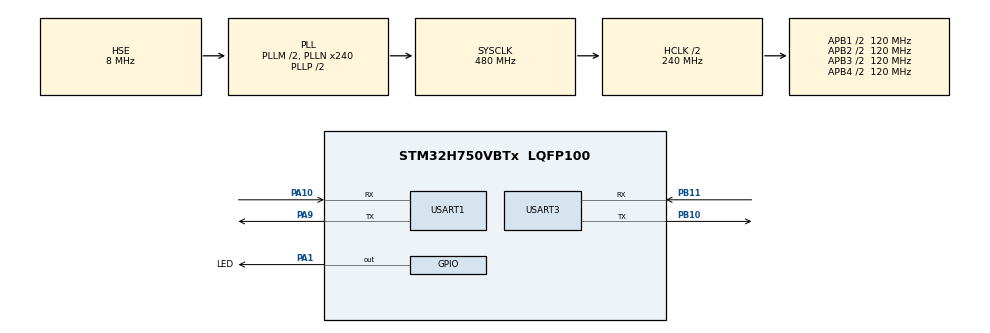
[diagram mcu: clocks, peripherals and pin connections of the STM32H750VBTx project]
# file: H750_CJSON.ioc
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CORTEX_M7.AccessPermission_Spec=MPU_REGION_FULL_ACCESS
CORTEX_M7.BaseAddress_Spec=0x24000000
CORTEX_M7.CPU_DCache=Enabled
CORTEX_M7.CPU_ICache=Enabled
CORTEX_M7.DisableExec_Spec=MPU_INSTRUCTION_ACCESS_ENABLE
CORTEX_M7.IsBufferable_Spec=MPU_ACCESS_BUFFERABLE
CORTEX_M7.IsCacheable_Spec=MPU_ACCESS_CACHEABLE
CORTEX_M7.IsShareable_Spec=MPU_ACCESS_NOT_SHAREABLE
CORTEX_M7.Size_Spec=MPU_REGION_SIZE_512KB
CORTEX_M7.SubRegionDisable_Spec=0x00
CORTEX_M7.TypeExtField_Spec=MPU_TEX_LEVEL1
Mcu.Family=STM32H7
Mcu.Name=STM32H750VBTx
Mcu.Package=LQFP100
NVIC.PriorityGroup=NVIC_PRIORITYGROUP_4
NVIC.USART1_IRQn=true\:0\:0\:false\:false\:true\:true\:true\:true
NVIC.USART3_IRQn=true\:0\:0\:false\:false\:true\:true\:true\:true
PA1.GPIO_Label=LED
PA1.GPIO_Speed=GPIO_SPEED_FREQ_HIGH
PA1.Signal=GPIO_Output
PA10.Mode=Asynchronous
PA10.Signal=USART1_RX
PA9.Mode=Asynchronous
PA9.Signal=USART1_TX
PB10.Mode=Asynchronous
PB10.Signal=USART3_TX
PB11.Mode=Asynchronous
PB11.Signal=USART3_RX
PH0-OSC_IN\ (PH0).Mode=HSE-External-Oscillator
PH0-OSC_IN\ (PH0).Signal=RCC_OSC_IN
PH1-OSC_OUT\ (PH1).Mode=HSE-External-Oscillator
PH1-OSC_OUT\ (PH1).Signal=RCC_OSC_OUT
ProjectManager.HeapSize=0x400
ProjectManager.StackSize=0x400
ProjectManager.TargetToolchain=STM32CubeIDE
RCC.ADCFreq_Value=16125000
RCC.APB1Freq_Value=120000000
RCC.APB2Freq_Value=120000000
RCC.APB3Freq_Value=120000000
RCC.APB4Freq_Value=120000000
RCC.CortexFreq_Value=480000000
RCC.D1PPRE=RCC_APB3_DIV2
RCC.D2PPRE1=RCC_APB1_DIV2
RCC.D2PPRE2=RCC_APB2_DIV2
RCC.D3PPRE=RCC_APB4_DIV2
RCC.DIVM1=2
RCC.DIVN1=240
RCC.HCLKFreq_Value=240000000
RCC.HPRE=RCC_HCLK_DIV2
RCC.HSE_VALUE=8000000
RCC.PLLSourceVirtual=RCC_PLLSOURCE_HSE
RCC.PWR_Regulator_Voltage_Scale=PWR_REGULATOR_VOLTAGE_SCALE0
RCC.ProductRev=revV
RCC.SYSCLKFreq_VALUE=480000000
RCC.SYSCLKSource=RCC_SYSCLKSOURCE_PLLCLK
RCC.USBFreq_Value=480000000
USART1.VirtualMode-Asynchronous=VM_ASYNC
USART3.VirtualMode-Asynchronous=VM_ASYNC
board=custom

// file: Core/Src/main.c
/* USER CODE BEGIN Header */
/**
  ******************************************************************************
  * @file           : main.c
  * @brief          : Main program body
  ******************************************************************************
  * @attention
  *
  * Copyright (c) 2024 STMicroelectronics.
  * All rights reserved.
  *
  * This software is licensed under terms that can be found in the LICENSE file
  * in the root directory of this software component.
  * If no LICENSE file comes with this software, it is provided AS-IS.
  *
  ******************************************************************************
  */
/* USER CODE END Header */
#include "main.h"
#include "usart.h"
#include "gpio.h"

/* USER CODE BEGIN Includes */
#include "retarget.h"
#include "cJSON_Test.h"
#include <stdio.h>
#include "SerialDataProcess.h"
#include <stdint.h>
#include <stdbool.h>
#include "stdlib.h"
#include "Store_Information.h"
#include "Judge.h"

/* USER CODE END Includes */

void SystemClock_Config(void);

/* USER CODE BEGIN 0 */
bool Printf_Flag = true;
/* USER CODE END 0 */

int main(void)
{
  /* USER CODE BEGIN 1 */
    int age;

  /* USER CODE END 1 */

  /* Enable I-Cache---------------------------------------------------------*/
  SCB_EnableICache();

  /* Enable D-Cache---------------------------------------------------------*/
  SCB_EnableDCache();

  /* MCU Configuration--------------------------------------------------------*/

  /* Reset of all peripherals, Initializes the Flash interface and the Systick. */
  HAL_Init();

  /* Configure the system clock */
  SystemClock_Config();

  /* Initialize all configured peripherals */
  MX_GPIO_Init();
  MX_USART1_UART_Init();
  MX_USART3_UART_Init();
  /* USER CODE BEGIN 2 */
    RetargetInit(&huart3);//用串口3来进行信息的控制和输出。串口1进行图像的输出。

  /* USER CODE END 2 */

  /* Infinite loop */
  while (1)
  {

    /* USER CODE BEGIN 3 */

    SerialDataProcess();
    if(Printf_Flag== true){
        Judge();
        Printf_Flag = false;
    }

//uint8_t  p[2];
//p[0] = 0x55;
//p[1] = 0xaa;
// HAL_UART_Transmit(&huart3, p, 2, 10);
//    paramstruct ->age = 20;

       //free(ParamStructPtr);

//      printf("Hello World\r\n");
  }
  /* USER CODE END 3 */
}

void SystemClock_Config(void)
{
  RCC_OscInitTypeDef RCC_OscInitStruct = {0};
  RCC_ClkInitTypeDef RCC_ClkInitStruct = {0};

  /** Supply configuration update enable
  */
  HAL_PWREx_ConfigSupply(PWR_LDO_SUPPLY);

  /** Configure the main internal regulator output voltage
  */
  __HAL_PWR_VOLTAGESCALING_CONFIG(PWR_REGULATOR_VOLTAGE_SCALE1);

  while(!__HAL_PWR_GET_FLAG(PWR_FLAG_VOSRDY)) {}

  __HAL_RCC_SYSCFG_CLK_ENABLE();
  __HAL_PWR_VOLTAGESCALING_CONFIG(PWR_REGULATOR_VOLTAGE_SCALE0);

  while(!__HAL_PWR_GET_FLAG(PWR_FLAG_VOSRDY)) {}

  /** Initializes the RCC Oscillators according to the specified parameters
  * in the RCC_OscInitTypeDef structure.
  */
  RCC_OscInitStruct.OscillatorType = RCC_OSCILLATORTYPE_HSE;
  RCC_OscInitStruct.HSEState = RCC_HSE_ON;
  RCC_OscInitStruct.PLL.PLLState = RCC_PLL_ON;
  RCC_OscInitStruct.PLL.PLLSource = RCC_PLLSOURCE_HSE;
  RCC_OscInitStruct.PLL.PLLM = 2;
  RCC_OscInitStruct.PLL.PLLN = 240;
  RCC_OscInitStruct.PLL.PLLP = 2;
  RCC_OscInitStruct.PLL.PLLQ = 2;
  RCC_OscInitStruct.PLL.PLLR = 2;
  RCC_OscInitStruct.PLL.PLLRGE = RCC_PLL1VCIRANGE_2;
  RCC_OscInitStruct.PLL.PLLVCOSEL = RCC_PLL1VCOWIDE;
  RCC_OscInitStruct.PLL.PLLFRACN = 0;
  if (HAL_RCC_OscConfig(&RCC_OscInitStruct) != HAL_OK)
  {
    Error_Handler();
  }

  /** Initializes the CPU, AHB and APB buses clocks
  */
  RCC_ClkInitStruct.ClockType = RCC_CLOCKTYPE_HCLK|RCC_CLOCKTYPE_SYSCLK
                              |RCC_CLOCKTYPE_PCLK1|RCC_CLOCKTYPE_PCLK2
                              |RCC_CLOCKTYPE_D3PCLK1|RCC_CLOCKTYPE_D1PCLK1;
  RCC_ClkInitStruct.SYSCLKSource = RCC_SYSCLKSOURCE_PLLCLK;
  RCC_ClkInitStruct.SYSCLKDivider = RCC_SYSCLK_DIV1;
  RCC_ClkInitStruct.AHBCLKDivider = RCC_HCLK_DIV2;
  RCC_ClkInitStruct.APB3CLKDivider = RCC_APB3_DIV2;
  RCC_ClkInitStruct.APB1CLKDivider = RCC_APB1_DIV2;
  RCC_ClkInitStruct.APB2CLKDivider = RCC_APB2_DIV2;
  RCC_ClkInitStruct.APB4CLKDivider = RCC_APB4_DIV2;

  if (HAL_RCC_ClockConfig(&RCC_ClkInitStruct, FLASH_LATENCY_4) != HAL_OK)
  {
    Error_Handler();
  }
}

void Error_Handler(void)
{
  __disable_irq();
  while (1)
  {
  }
}
